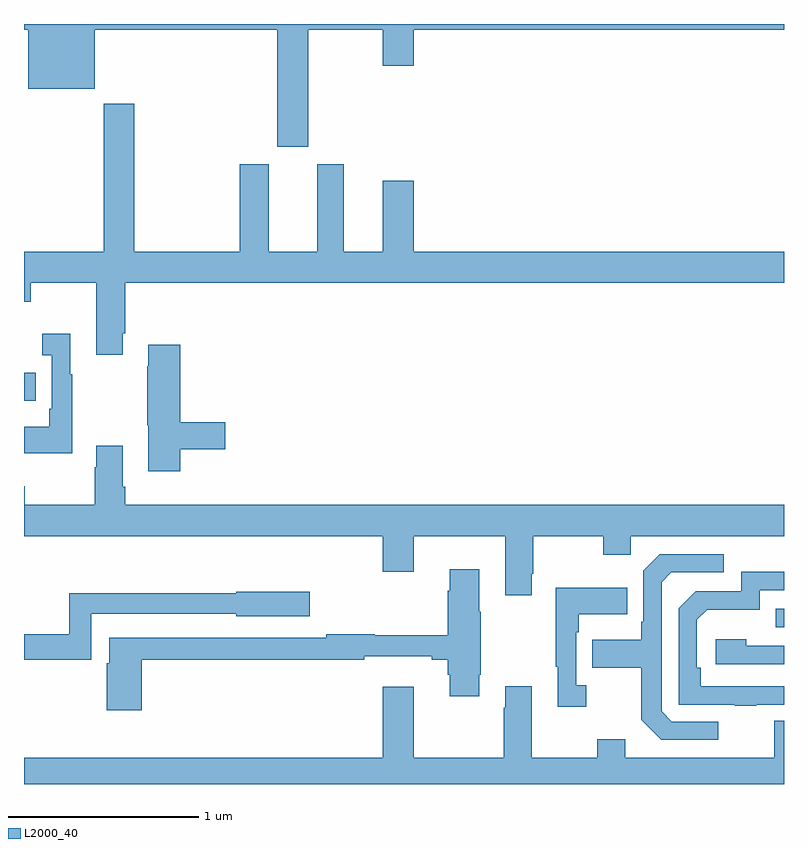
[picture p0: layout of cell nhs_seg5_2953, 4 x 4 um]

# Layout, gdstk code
import gdstk
lib = gdstk.Library(unit=1e-6, precision=1e-09)
def R(c, l, rs):  # rectangles x0, y0, x1, y1
    for r in rs: c.add(gdstk.rectangle(r[:2], r[2:], *l))
def P(c, l, *ps):  # polygons
    for p in ps: c.add(gdstk.Polygon(p, *l))
L2000_40 = (2000, 40)

nhs_seg5_2953 = lib.new_cell('nhs_seg5_2953')
R(nhs_seg5_2953, L2000_40, [(286.957,845.625,287,845.721), (283,846.815,283.061,846.963)])
P(nhs_seg5_2953, L2000_40, [(283,848.768),(283.022,848.768),(283.022,848.459),(283.372,848.459),(283.372,848.768),(284.333,848.768),(284.333,848.154),(284.497,848.154),(284.497,848.768),(284.888,848.768),(284.888,848.58),(285.052,848.58),(285.052,848.768),(287,848.768),(287,848.799),(283,848.799)],
  [(283.519,847.171),(283.532,847.171),(283.532,847.436),(287,847.436),(287,847.6),(285.052,847.6),(285.052,847.975),(284.888,847.975),(284.888,847.6),(284.683,847.6),(284.683,848.062),(284.543,848.062),(284.543,847.6),(284.287,847.6),(284.287,848.062),(284.135,848.062),(284.135,847.6),(283.58,847.6),(283.58,848.38),(283.42,848.38),(283.42,847.6),(283,847.6),(283,847.337),(283.035,847.337),(283.035,847.436),(283.379,847.436),(283.379,847.059),(283.519,847.059)],
  [(283.255,846.955),(283.243,846.955),(283.243,847.168),(283.095,847.168),(283.095,847.055),(283.146,847.055),(283.146,846.775),(283.134,846.775),(283.134,846.679),(283,846.679),(283,846.539),(283.255,846.539)],
  [(283.823,846.562),(284.059,846.562),(284.059,846.704),(283.823,846.704),(283.823,847.111),(283.655,847.111),(283.655,846.998),(283.648,846.998),(283.648,846.687),(283.655,846.687),(283.655,846.444),(283.823,846.444)],
  [(285.673,845.905),(285.681,845.905),(285.681,846.104),(286.048,846.104),(286.048,846.005),(286.194,846.005),(286.194,846.104),(287,846.104),(287,846.268),(283.532,846.268),(283.532,846.364),(283.519,846.364),(283.519,846.58),(283.379,846.58),(283.379,846.467),(283.372,846.467),(283.372,846.268),(283.005,846.268),(283.005,846.367),(283,846.367),(283,846.104),(284.888,846.104),(284.888,845.916),(285.052,845.916),(285.052,846.104),(285.533,846.104),(285.533,845.793),(285.673,845.793)],
  [(286.654,845.127),(286.41,845.127),(286.356,845.181),(286.356,845.862),(286.407,845.913),(286.684,845.913),(286.684,846.009),(286.347,846.009),(286.26,845.922),(286.26,845.653),(286.248,845.653),(286.248,845.557),(285.991,845.557),(285.991,845.41),(286.248,845.41),(286.248,845.137),(286.353,845.031),(286.654,845.031)],
  [(283.619,845.452),(284.792,845.452),(284.792,845.471),(285.146,845.471),(285.146,845.452),(285.23,845.452),(285.23,845.375),(285.242,845.375),(285.242,845.262),(285.397,845.262),(285.397,845.374),(285.405,845.374),(285.405,845.705),(285.397,845.705),(285.397,845.929),(285.242,845.929),(285.242,845.816),(285.23,845.816),(285.23,845.581),(284.846,845.581),(284.846,845.588),(284.59,845.588),(284.59,845.568),(283.448,845.568),(283.448,845.435),(283.436,845.435),(283.436,845.187),(283.619,845.187)],
  [(286.853,845.217),(287,845.217),(287,845.313),(286.562,845.313),(286.562,845.41),(286.542,845.41),(286.542,845.664),(286.595,845.717),(286.872,845.717),(286.872,845.82),(287,845.82),(287,845.916),(286.776,845.916),(286.776,845.814),(286.536,845.814),(286.446,845.724),(286.446,845.217),(286.741,845.217),(286.741,845.212),(286.853,845.212)],
  [(285.958,845.318),(285.906,845.318),(285.906,845.597),(285.919,845.597),(285.919,845.693),(286.175,845.693),(286.175,845.833),(285.798,845.833),(285.798,845.417),(285.809,845.417),(285.809,845.205),(285.958,845.205)],
  [(283.353,845.694),(284.118,845.694),(284.118,845.681),(284.503,845.681),(284.503,845.811),(284.118,845.811),(284.118,845.803),(283.237,845.803),(283.237,845.588),(283,845.588),(283,845.452),(283.353,845.452)],
  [(287,845.526),(286.802,845.526),(286.802,845.56),(286.641,845.56),(286.641,845.43),(287,845.43)],
  [(287,845.131),(286.949,845.131),(286.949,844.936),(286.165,844.936),(286.165,845.035),(286.018,845.035),(286.018,844.936),(285.673,844.936),(285.673,845.314),(285.533,845.314),(285.533,845.201),(285.526,845.201),(285.526,844.936),(285.052,844.936),(285.052,845.311),(284.888,845.311),(284.888,844.936),(283,844.936),(283,844.799),(287,844.799)])

lib.write_gds('nhs_seg5_2953.gds')
